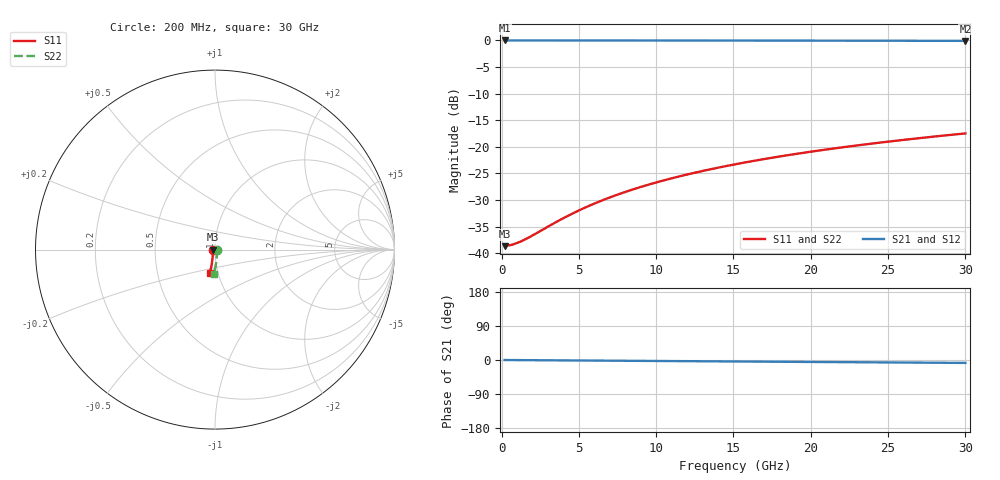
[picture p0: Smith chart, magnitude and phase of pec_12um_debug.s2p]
! Touchstone file exported from HFSS 2026.1.0
!  File:  C:/Users/urbaneja/Ansys/Project1.aedt
!  Generated:  12:54:00 PM Aug 10, 2026
!  Design:  HFSSDesign_PEC_sheet_debug
!  Project:  Project1
!  Setup:  Setup1
!  Solution:  Sweep_discrete_debug
! Variables:
!  port_below = 1um
!  port_width = 30um
!  stub_length = 12um
# GHz S MA R 50.000000
! Terminal data exported
! Port[1] = Port1
! Port[2] = Port2
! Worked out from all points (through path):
!   61 points, 200 MHz to 30 GHz, reference 50 ohm
!   highest |S21| = 0.00 dB at 200 MHz (marker M1); lowest = -0.1 dB at 30 GHz (marker M2)
!   group delay of S21, straight-line fit = 711 fs
!   lowest |S11| = -38.7 dB at 200 MHz (marker M3), VSWR 1.02, Z = 48.9 - j0.0864 ohm
!   |S11| at or under -10 dB: start of sweep to end of sweep
!   |S22| runs from -38.7 to -17.5 dB; largest |S21 - S12| = 8.9e-15
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0.2  0.01162 -175.6  0.9999 -0.1  0.9999 -0.1  0.01162 -4.5
! Gamma 0 12.9403156130022 0 12.939121848594
! Port Impedance 50 0 50 0
0.6966667  0.01199 -165.1  0.9999 -0.2  0.9999 -0.2  0.01199 -15.2
1.193333  0.01275 -155.6  0.9999 -0.3  0.9999 -0.3  0.01275 -25.0
1.69  0.01383 -147.3  0.9999 -0.4  0.9999 -0.4  0.01383 -33.6
3.676667  0.02011 -126.1  0.9998 -0.9  0.9998 -0.9  0.02011 -55.8
4.67  0.02388 -120.2  0.9997 -1.2  0.9997 -1.2  0.02388 -62.2
5.166667  0.02584 -118.0  0.9997 -1.3  0.9997 -1.3  0.02584 -64.7
6.16  0.02987 -114.4  0.9996 -1.6  0.9996 -1.6  0.02987 -68.8
6.656667  0.03193 -113.0  0.9995 -1.7  0.9995 -1.7  0.03193 -70.5
7.65  0.0361 -110.7  0.9993 -2.0  0.9993 -2.0  0.0361 -73.3
9.14  0.04245 -108.2  0.9991 -2.4  0.9991 -2.4  0.04245 -76.5
10.63  0.04887 -106.4  0.9988 -2.7  0.9988 -2.7  0.04887 -79.0
11.62333  0.05318 -105.6  0.9986 -3.0  0.9986 -3.0  0.05318 -80.4
12.61667  0.05751 -104.8  0.9983 -3.2  0.9983 -3.2  0.05751 -81.6
13.61  0.06184 -104.3  0.9981 -3.5  0.9981 -3.5  0.06184 -82.7
15.1  0.06836 -103.6  0.9977 -3.9  0.9977 -3.9  0.06836 -84.1
17.58333  0.07924 -102.9  0.9969 -4.5  0.9969 -4.5  0.07924 -86.1
20.06667  0.09013 -102.5  0.9959 -5.2  0.9959 -5.2  0.09013 -87.8
22.55  0.101 -102.3  0.9949 -5.8  0.9949 -5.8  0.101 -89.2
25.53  0.114 -102.3  0.9935 -6.5  0.9935 -6.5  0.114 -90.8
27.51667  0.1227 -102.4  0.9924 -7.1  0.9924 -7.1  0.1227 -91.7
30  0.1335 -102.6  0.9911 -7.7  0.9911 -7.7  0.1335 -92.7
